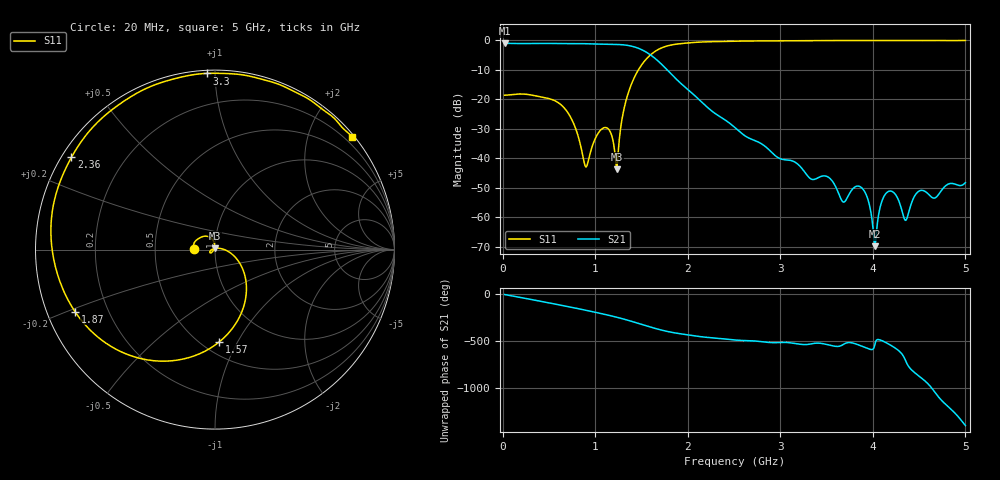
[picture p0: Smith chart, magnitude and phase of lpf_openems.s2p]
! Generated by a Qucs-RFlayout generated OpenEMS script
#  Hz  S  RI  R  50
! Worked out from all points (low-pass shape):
!   499 points, 20 MHz to 5 GHz, reference 50 ohm
!   highest |S21| = -1.06 dB at 20 MHz (marker M1); lowest = -69.8 dB at 4.02 GHz (marker M2)
!   |S21| within 3 dB of the highest: start of sweep to 1.551 GHz
!   lowest |S11| = -43.7 dB at 1.23 GHz (marker M3), VSWR 1.01, Z = 49.8 + j0.621 ohm
!   |S11| at or under -10 dB: start of sweep to 1.467 GHz
!   S12 and S22 are empty: the file has one direction only
!   S11 on the Smith chart (normalised r, x): 20 MHz: 0.79, +0.00; 1.57 GHz: 0.60, -0.84; 1.87 GHz: 0.08, -0.21; 2.36 GHz: 0.03, +0.29; 3.3 GHz: 0.02, +0.95; 5 GHz: 0.05, +2.80
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2e7  -0.1167 0.00183  0.8828 -0.058  0 0  0 0
4.6e8  -0.0817 0.0671  0.0694 -0.8793  0 0  0 0
7e8  -0.0156 0.0582  -0.5792 -0.6542  0 0  0 0
8.5e8  -0.00347 0.0139  -0.8292 -0.2739  0 0  0 0
9.1e8  -0.00748 0.000363  -0.8654 -0.0872  0 0  0 0
1.12e9  -0.0292 -0.0152  -0.6568 0.5422  0 0  0 0
1.23e9  -0.00193 0.00623  -0.3487 0.7706  0 0  0 0
1.35e9  0.1112 -0.0407  0.1109 0.8078  0 0  0 0
1.57e9  0.024 -0.5141  0.5755 0.1717  0 0  0 0
1.68e9  -0.3104 -0.6212  0.4273 -0.1113  0 0  0 0
1.87e9  -0.7798 -0.3458  0.1271 -0.1834  0 0  0 0
2.36e9  -0.7999 0.514  -0.0198 -0.045  0 0  0 0
2.51e9  -0.6896 0.6724  -0.0211 -0.0253  0 0  0 0
3.3e9  -0.0467 0.9817  -0.0049 -0.000293  0 0  0 0
3.34e9  -0.0179 0.9825  -0.00432 -0.000774  0 0  0 0
3.68e9  0.2048 0.9636  -0.00181 -6.28e-05  0 0  0 0
3.88e9  0.3166 0.9339  -0.00303 0.00085  0 0  0 0
4.02e9  0.3912 0.9055  -0.000322 3.27e-05  0 0  0 0
4.17e9  0.4603 0.8712  -0.00272 -0.000353  0 0  0 0
4.35e9  0.5416 0.8256  0.000842 0.000269  0 0  0 0
4.5e9  0.5974 0.7824  -0.00254 -0.00112  0 0  0 0
5e9  0.7646 0.6269  0.00308 0.00232  0 0  0 0
